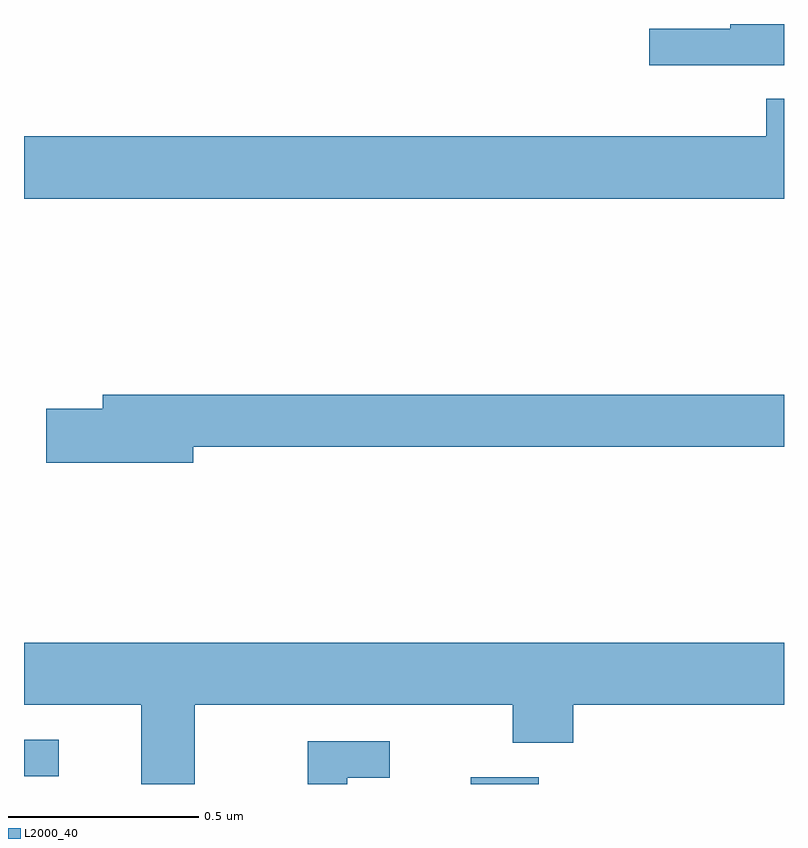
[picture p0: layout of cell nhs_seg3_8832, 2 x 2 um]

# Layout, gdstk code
import gdstk
lib = gdstk.Library(unit=1e-6, precision=1e-09)
def R(c, l, rs):  # rectangles x0, y0, x1, y1
    for r in rs: c.add(gdstk.rectangle(r[:2], r[2:], *l))
def P(c, l, *ps):  # polygons
    for p in ps: c.add(gdstk.Polygon(p, *l))
L2000_40 = (2000, 40)

nhs_seg3_8832 = lib.new_cell('nhs_seg3_8832')
R(nhs_seg3_8832, L2000_40, [(222.176,675.4,222.355,675.418), (221,675.42,221.092,675.516)])
P(nhs_seg3_8832, L2000_40, [(223,677.4),(222.858,677.4),(222.858,677.388),(222.645,677.388),(222.645,677.292),(223,677.292)],
  [(223,677.203),(222.953,677.203),(222.953,677.104),(221,677.104),(221,676.94),(223,676.94)],
  [(221.446,676.288),(223,676.288),(223,676.424),(221.207,676.424),(221.207,676.388),(221.058,676.388),(221.058,676.246),(221.446,676.246)],
  [(221.449,675.608),(222.286,675.608),(222.286,675.509),(222.446,675.509),(222.446,675.608),(223,675.608),(223,675.772),(221,675.772),(221,675.608),(221.309,675.608),(221.309,675.4),(221.449,675.4)],
  [(221.851,675.417),(221.962,675.417),(221.962,675.513),(221.747,675.513),(221.747,675.4),(221.851,675.4)])

lib.write_gds('nhs_seg3_8832.gds')
